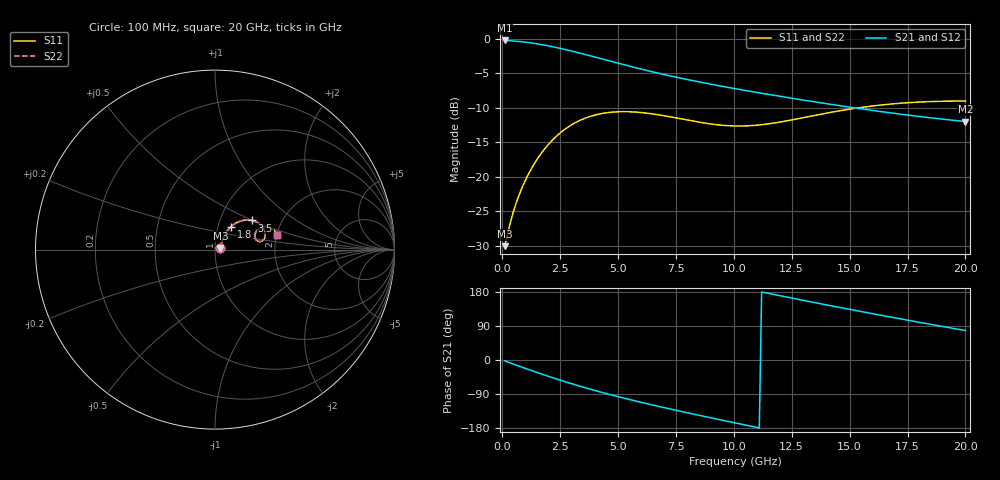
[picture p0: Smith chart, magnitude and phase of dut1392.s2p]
! Touchstone file exported from HFSS 2024.1.0
!  File:  C:/UserFiles/LocalFiles/RDL_TSV_Batchsim/temp_RDL_TSV_1392_1780404017.aedt
!  Generated:  08:59:34 PM Jun  2, 2026
!  Design:  RDL_TSV
!  Project:  temp_RDL_TSV_1392_1780404017
!  Setup:  Setup1
!  Solution:  Sweep
! Variables:
!  dtsv = 6.96um
!  hbump = 3um
!  htsv = 56.59um
!  ldown = 679.15um
!  lrdl = 629.73um
!  p = 40
!  p1 = 51.42um
!  rhole = 10um
!  subl = 4556.37um
!  t = 450um
!  tdown = 2.39um
!  trdl = 2.85um
!  viad = 10um
!  wdown = 17um
!  wrdl = 26.65um
!  xbump = 18um
# GHz S MA R 50.000000
! Terminal data exported
! Port[1] = TM1_1_T1
! Port[2] = TM1_4_T1
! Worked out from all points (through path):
!   200 points, 100 MHz to 20 GHz, reference 50 ohm
!   highest |S21| = -0.26 dB at 100 MHz (marker M1); lowest = -12.0 dB at 20 GHz (marker M2)
!   group delay of S21, straight-line fit = 37.5 ps
!   lowest |S11| = -30.0 dB at 100 MHz (marker M3), VSWR 1.07, Z = 53.1 + j1.02 ohm
!   |S11| at or under -10 dB: start of sweep to 15.42 GHz
!   |S22| runs from -30.0 to -9.1 dB; largest |S21 - S12| = 8.5e-15
!   S11 on the Smith chart (normalised r, x): 100 MHz: 1.06, +0.02; 1.8 GHz: 1.15, +0.30; 3.5 GHz: 1.42, +0.49; 20 GHz: 2.00, +0.37
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0.1  0.03148 17.7  0.97 -2.3  0.97 -2.3  0.03148 17.7
! Gamma 0 0 0 0
! Port Impedance 50 0 50 0
0.5  0.05736 48.1  0.9608 -11.4  0.9608 -11.4  0.05736 48.1
0.8  0.07939 54.3  0.9507 -17.9  0.9507 -17.9  0.07939 54.3
1.3  0.1179 56.9  0.9281 -28.7  0.9281 -28.7  0.1179 56.9
1.8  0.157 55.1  0.899 -39.2  0.899 -39.2  0.1569 55.0
2.2  0.1869 52.0  0.8722 -47.3  0.8722 -47.3  0.1869 51.9
2.6  0.2144 48.1  0.8431 -55.1  0.8431 -55.1  0.2143 48.0
3  0.2384 43.8  0.8126 -62.7  0.8126 -62.7  0.2382 43.7
3.5  0.2625 38.2  0.7738 -71.8  0.7738 -71.8  0.2622 38.1
4.2  0.2849 30.8  0.7206 -83.9  0.7206 -83.9  0.2845 30.6
5.1  0.2959 22.4  0.6573 -98.3  0.6573 -98.3  0.2953 22.3
5.9  0.2928 16.6  0.6075 -110.3  0.6075 -110.3  0.292 16.5
6.8  0.2801 12.2  0.5591 -123.1  0.5591 -123.1  0.2792 12.1
7.6  0.265 10.3  0.522 -134.1  0.522 -134.1  0.264 10.2
8.4  0.2502 10.3  0.4898 -144.7  0.4898 -144.7  0.2491 10.2
10.1  0.2332 15.8  0.433 -166.6  0.433 -166.6  0.232 15.8
11.6  0.2431 22.2  0.392 174.5  0.392 174.5  0.242 22.2
13.4  0.2762 25.6  0.3505 152.5  0.3505 152.5  0.2753 25.7
15  0.3087 24.6  0.3191 133.6  0.3191 133.6  0.3079 24.7
16.7  0.3353 21.2  0.2911 114.1  0.2911 114.1  0.3344 21.2
18.3  0.3493 17.2  0.2696 96.3  0.2696 96.3  0.3485 17.2
20  0.3533 13.2  0.2513 77.6  0.2513 77.6  0.3524 13.2
